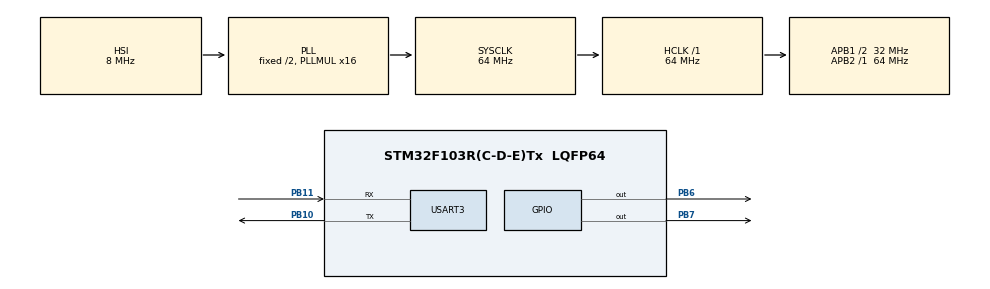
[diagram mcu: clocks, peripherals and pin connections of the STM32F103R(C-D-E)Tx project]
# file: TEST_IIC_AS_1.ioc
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Mcu.Family=STM32F1
Mcu.Name=STM32F103R(C-D-E)Tx
Mcu.Package=LQFP64
NVIC.PriorityGroup=NVIC_PRIORITYGROUP_4
NVIC.USART3_IRQn=true\:0\:0\:false\:false\:true
PA13.Mode=Serial_Wire
PA13.Signal=SYS_JTMS-SWDIO
PA14.Mode=Serial_Wire
PA14.Signal=SYS_JTCK-SWCLK
PB10.Mode=Asynchronous
PB10.Signal=USART3_TX
PB11.Mode=Asynchronous
PB11.Signal=USART3_RX
PB6.Signal=GPIO_Output
PB7.Signal=GPIO_Output
ProjectManager.HeapSize=0x200
ProjectManager.StackSize=0x400
ProjectManager.TargetToolchain=MDK-ARM V5
RCC.AHBFreq_Value=64000000
RCC.APB1CLKDivider=RCC_HCLK_DIV2
RCC.APB1Freq_Value=32000000
RCC.APB1TimFreq_Value=64000000
RCC.APB2Freq_Value=64000000
RCC.APB2TimFreq_Value=64000000
RCC.HCLKFreq_Value=64000000
RCC.PLLMUL=RCC_PLL_MUL16
RCC.SYSCLKFreq_VALUE=64000000
RCC.SYSCLKSource=RCC_SYSCLKSOURCE_PLLCLK
RCC.USBFreq_Value=64000000
USART3.VirtualMode=VM_ASYNC
VP_TIM1_VS_ClockSourceINT.Mode=Internal
board=TEST_IIC_AS_1

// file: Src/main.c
/**
  ******************************************************************************
  * File Name          : main.c
  * Description        : Main program body
  ******************************************************************************
  ** This notice applies to any and all portions of this file
  * that are not between comment pairs USER CODE BEGIN and
  * USER CODE END. Other portions of this file, whether
  * inserted by the user or by software development tools
  * are owned by their respective copyright owners.
  *
  * COPYRIGHT(c) 2017 STMicroelectronics
  *
  * Redistribution and use in source and binary forms, with or without modification,
  * are permitted provided that the following conditions are met:
  *   1. Redistributions of source code must retain the above copyright notice,
  *      this list of conditions and the following disclaimer.
  *   2. Redistributions in binary form must reproduce the above copyright notice,
  *      this list of conditions and the following disclaimer in the documentation
  *      and/or other materials provided with the distribution.
  *   3. Neither the name of STMicroelectronics nor the names of its contributors
  *      may be used to endorse or promote products derived from this software
  *      without specific prior written permission.
  *
  * THIS SOFTWARE IS PROVIDED BY THE COPYRIGHT HOLDERS AND CONTRIBUTORS "AS IS"
  * AND ANY EXPRESS OR IMPLIED WARRANTIES, INCLUDING, BUT NOT LIMITED TO, THE
  * IMPLIED WARRANTIES OF MERCHANTABILITY AND FITNESS FOR A PARTICULAR PURPOSE ARE
  * DISCLAIMED. IN NO EVENT SHALL THE COPYRIGHT HOLDER OR CONTRIBUTORS BE LIABLE
  * FOR ANY DIRECT, INDIRECT, INCIDENTAL, SPECIAL, EXEMPLARY, OR CONSEQUENTIAL
  * DAMAGES (INCLUDING, BUT NOT LIMITED TO, PROCUREMENT OF SUBSTITUTE GOODS OR
  * SERVICES; LOSS OF USE, DATA, OR PROFITS; OR BUSINESS INTERRUPTION) HOWEVER
  * CAUSED AND ON ANY THEORY OF LIABILITY, WHETHER IN CONTRACT, STRICT LIABILITY,
  * OR TORT (INCLUDING NEGLIGENCE OR OTHERWISE) ARISING IN ANY WAY OUT OF THE USE
  * OF THIS SOFTWARE, EVEN IF ADVISED OF THE POSSIBILITY OF SUCH DAMAGE.
  *
  ******************************************************************************
  */
#include "main.h"
#include "stm32f1xx_hal.h"
#include "tim.h"
#include "usart.h"
#include "gpio.h"

/* USER CODE BEGIN Includes */
#include "24cxx.h"
#include "myiic.h"
#include "led.h"
#include "mynop.h"
/* USER CODE END Includes */

/* USER CODE BEGIN PV */
/* Private variables ---------------------------------------------------------*/

/* USER CODE END PV */

void SystemClock_Config(void);

/* USER CODE BEGIN PFP */
/* Private function prototypes -----------------------------------------------*/

/* USER CODE END PFP */

/* USER CODE BEGIN 0 */

//void TIM1_delayus(uint16_t us)
//{
//	TIM1->PSC=63;
//	TIM1->ARR=us;
//	TIM1->CR1|=(1<<3);
//	TIM1->CR1|=0x1;
//	while((TIM1->SR&0x1)==0);
//	TIM1->SR=0;
//}

/* USER CODE END 0 */

int main(void)
{

  /* MCU Configuration----------------------------------------------------------*/

  /* Reset of all peripherals, Initializes the Flash interface and the Systick. */
   HAL_Init();

  /* Configure the system clock */
  SystemClock_Config();

  /* Initialize all configured peripherals */
  MX_GPIO_Init();
  MX_USART3_UART_Init();
  MX_TIM1_Init();

  /* USER CODE BEGIN 2 */
//AT24CXX_Init();			//IIC初始化
	IIC_SCL=1;
	IIC_SDA=1;
//HAL_TIM_Base_Start_IT(&htim1);

  /* USER CODE END 2 */

  /* Infinite loop */
  while (1)
  {

  /* USER CODE BEGIN 3 */

		TCA62724FMG_Write_OFF(0x8,0x0,0x0);
		HAL_Delay(500);
		TCA62724FMG_Write_OFF(0x0,0xA,0x0);
		HAL_Delay(500);
		TCA62724FMG_Write_OFF(0x0,0x0,0xF);
		HAL_Delay(500);

//		IIC_SCL = 0;
//		IIC_SDA = 0;
//		Delay_nop_1us();

//		IIC_SCL = 1;
//		IIC_SDA = 1;
//		Delay_nop_1us();

//		Delay_nop_2us();
//		HAL_Delay(100);
//		HAL_GPIO_TogglePin(GPIOB,GPIO_PIN_6);
//		TIM1_delayus(1);
//		Delay_nop();
//		HAL_Delay(100000);  //延迟100ms

	TCA62724FMG_Write_OFF(0xF,0x0,0x0);
	HAL_Delay(500);  //500ms
		TCA62724FMG_Write_OFF(0x0,0xF,0x0);
		HAL_Delay(500);  //500ms
		TCA62724FMG_Write_OFF(0x0,0x0,0xF);
		HAL_Delay(500);  //500ms
  }
  /* USER CODE END 3 */

}

/** System Clock Configuration
*/
void SystemClock_Config(void)
{

  RCC_OscInitTypeDef RCC_OscInitStruct;
  RCC_ClkInitTypeDef RCC_ClkInitStruct;

    /**Initializes the CPU, AHB and APB busses clocks **/
  RCC_OscInitStruct.OscillatorType = RCC_OSCILLATORTYPE_HSI;
  RCC_OscInitStruct.HSIState = RCC_HSI_ON;
  RCC_OscInitStruct.HSICalibrationValue = 16;
  RCC_OscInitStruct.PLL.PLLState = RCC_PLL_ON;
  RCC_OscInitStruct.PLL.PLLSource = RCC_PLLSOURCE_HSI_DIV2;
  RCC_OscInitStruct.PLL.PLLMUL = RCC_PLL_MUL16;
  if (HAL_RCC_OscConfig(&RCC_OscInitStruct) != HAL_OK)
  {
    _Error_Handler(__FILE__, __LINE__);
  }

    /**Initializes the CPU, AHB and APB busses clocks
    */
  RCC_ClkInitStruct.ClockType = RCC_CLOCKTYPE_HCLK|RCC_CLOCKTYPE_SYSCLK
                              |RCC_CLOCKTYPE_PCLK1|RCC_CLOCKTYPE_PCLK2;
  RCC_ClkInitStruct.SYSCLKSource = RCC_SYSCLKSOURCE_PLLCLK;
  RCC_ClkInitStruct.AHBCLKDivider = RCC_SYSCLK_DIV1;
  RCC_ClkInitStruct.APB1CLKDivider = RCC_HCLK_DIV2;
  RCC_ClkInitStruct.APB2CLKDivider = RCC_HCLK_DIV1;

  if (HAL_RCC_ClockConfig(&RCC_ClkInitStruct, FLASH_LATENCY_2) != HAL_OK)
  {
    _Error_Handler(__FILE__, __LINE__);
  }

    /**Configure the Systick interrupt time
    */
  HAL_SYSTICK_Config(HAL_RCC_GetHCLKFreq()/1000);

    /**Configure the Systick
    */
  HAL_SYSTICK_CLKSourceConfig(SYSTICK_CLKSOURCE_HCLK);

  /* SysTick_IRQn interrupt configuration */
  HAL_NVIC_SetPriority(SysTick_IRQn, 0, 0);
}

void _Error_Handler(char * file, int line)
{
  while(1)
  {
  }
}

/************************ (C) COPYRIGHT STMicroelectronics *****END OF FILE****/
